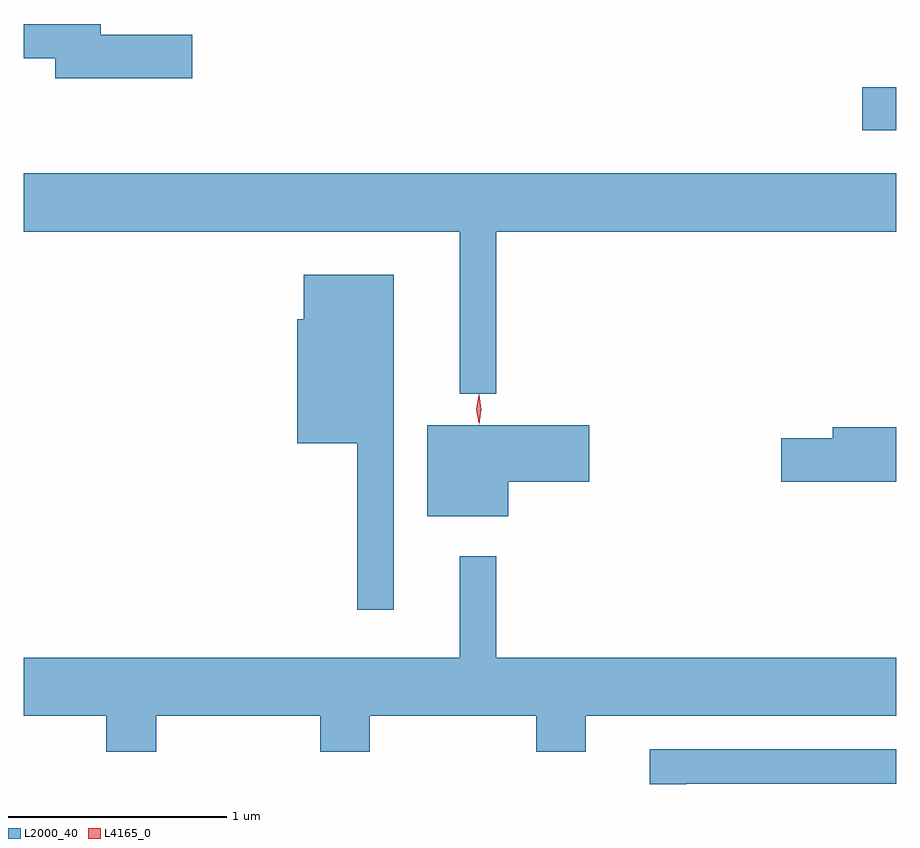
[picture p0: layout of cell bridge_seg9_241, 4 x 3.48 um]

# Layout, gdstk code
import gdstk
lib = gdstk.Library(unit=1e-6, precision=1e-09)
def R(c, l, rs):  # rectangles x0, y0, x1, y1
    for r in rs: c.add(gdstk.rectangle(r[:2], r[2:], *l))
def P(c, l, *ps):  # polygons
    for p in ps: c.add(gdstk.Polygon(p, *l))
L2000_40 = (2000, 40)
L4165_0 = (4165, 0)

bridge_seg9_241 = lib.new_cell('bridge_seg9_241')
R(bridge_seg9_241, L2000_40, [(1363.376,1950.101,1363.532,1950.299)])
P(bridge_seg9_241, L2000_40, [(1360.304,1950.539),(1359.884,1950.539),(1359.884,1950.589),(1359.532,1950.589),(1359.532,1950.431),(1359.676,1950.431),(1359.676,1950.341),(1360.304,1950.341)],
  [(1361.699,1949.636),(1363.532,1949.636),(1363.532,1949.904),(1359.532,1949.904),(1359.532,1949.636),(1361.531,1949.636),(1361.531,1948.893),(1361.699,1948.893)],
  [(1361.229,1949.439),(1360.816,1949.439),(1360.816,1949.234),(1360.786,1949.234),(1360.786,1948.666),(1361.061,1948.666),(1361.061,1947.903),(1361.229,1947.903)],
  [(1361.754,1948.491),(1362.124,1948.491),(1362.124,1948.749),(1361.381,1948.749),(1361.381,1948.331),(1361.754,1948.331)],
  [(1363.532,1948.739),(1363.241,1948.739),(1363.241,1948.689),(1363.006,1948.689),(1363.006,1948.491),(1363.532,1948.491)],
  [(1360.139,1947.416),(1360.891,1947.416),(1360.891,1947.251),(1361.119,1947.251),(1361.119,1947.416),(1361.881,1947.416),(1361.881,1947.251),(1362.109,1947.251),(1362.109,1947.416),(1363.532,1947.416),(1363.532,1947.684),(1361.699,1947.684),(1361.699,1948.148),(1361.531,1948.148),(1361.531,1947.684),(1359.532,1947.684),(1359.532,1947.416),(1359.911,1947.416),(1359.911,1947.251),(1360.139,1947.251)],
  [(1362.569,1947.106),(1363.532,1947.106),(1363.532,1947.264),(1362.401,1947.264),(1362.401,1947.104),(1362.569,1947.104)])
P(bridge_seg9_241, L4165_0, [(1361.62,1948.754),(1361.61,1948.822),(1361.619,1948.89),(1361.619,1948.89),(1361.62,1948.89),(1361.63,1948.822),(1361.621,1948.754),(1361.621,1948.754)],
  [(1361.617,1948.76),(1361.617,1948.76),(1361.607,1948.823),(1361.617,1948.886),(1361.617,1948.887),(1361.618,1948.886),(1361.627,1948.823),(1361.618,1948.76)])

lib.write_gds('bridge_seg9_241.gds')
